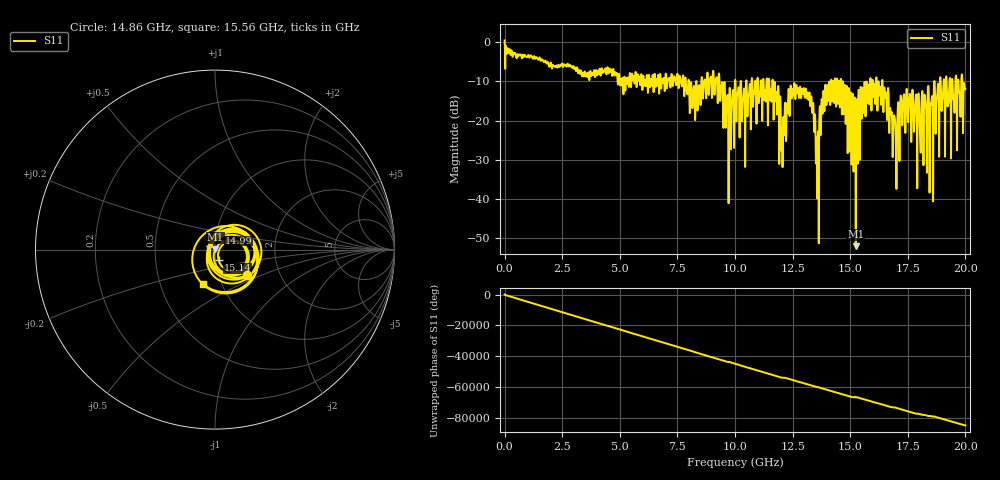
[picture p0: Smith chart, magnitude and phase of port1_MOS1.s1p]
! MS46122B
! 2250307/22442219
! 7/21/2025 12:04:05 PM
! C:\USERS\SPARKY\DOCUMENTS\VNA_DATA\JULY21_2025\295K\PORT1_MOS1.S1P
! CHANNEL.1
! TR.MEASUREMENT
! RAW.DATA
# GHZ S RI R 50.0
! FREQ.GHZ  S11RE  S11IM
!; PortSelection: Port_1
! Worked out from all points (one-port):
!   10001 points, 1 MHz to 20 GHz, reference 50 ohm
!   lowest |S11| = -52.0 dB at 15.24 GHz (marker M1), VSWR 1.01, Z = 50.2 + j0.177 ohm
!   |S11| at or under -10 dB: 11.64 GHz to 14.17 GHz (2.525 GHz wide, 19.6 % of centre); 14.68 GHz to 15.86 GHz (1.18 GHz wide, 7.73 % of centre); 16.4 GHz to 18.65 GHz (2.248 GHz wide, 12.8 % of centre) (the widest 3 of 72)
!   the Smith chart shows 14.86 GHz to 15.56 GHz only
!   S11 on the Smith chart (normalised r, x): 14.86 GHz: 1.36, -0.41; 14.99 GHz: 1.02, +0.20; 15.14 GHz: 1.03, -0.12; 15.56 GHz: 0.82, -0.33
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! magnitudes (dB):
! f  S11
! 1 MHz  0.4
! 2.501 GHz  -5.6
! 5.001 GHz  -10.7
! 7.501 GHz  -8.1
! 8.205 GHz  -11.8
! 9.125 GHz  -11.9
! 9.787 GHz  -12.6
! 10 GHz  -9.9
! 11.55 GHz  -12.1
! 11.8 GHz  -13.0
! 12.08 GHz  -22.3
! 12.5 GHz  -12.0
! 13.23 GHz  -12.9
! 13.56 GHz  -28.8
! 13.76 GHz  -14.6
! 14 GHz  -11.1
! 14.86 GHz  -12.8
! 14.99 GHz  -20.2
! 15 GHz  -15.1
! 15.14 GHz  -24.4
! 15.24 GHz  -52.0
! 15.56 GHz  -13.8
! 16.47 GHz  -12.7
! 16.93 GHz  -19.3
! 17.5 GHz  -19.1
! 17.99 GHz  -15.4
! 18.99 GHz  -15.5
! 20 GHz  -11.9
